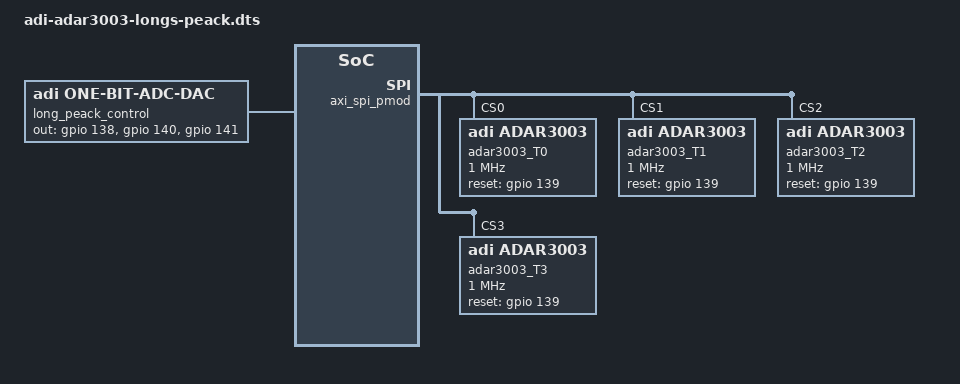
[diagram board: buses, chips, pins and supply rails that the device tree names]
// SPDX-License-Identifier: GPL-2.0
/*
 * dts file for AD9172-FMC-EBZ on Xilinx ZynqMP ZCU102 Rev 1.0
 *
 * Copyright (C) 2018-2019 Analog Devices Inc.
 */

#include "zynqmp-zcu102-rev10-ad9081-m8-l4.dts"

/ {
	long_peack_control@0 {
		compatible = "adi,one-bit-adc-dac";
		#address-cells = <1>;
		#size-cells = <0>;
		// 78 offset
		out-gpios = <&gpio 138 0>, <&gpio 140 0>, <&gpio 141 0>;
		label = "long_peack_control";

		channel@0 {
			reg = <0>;
			label = "MUTE";
		};
		channel@1 {
			reg = <1>;
			label = "UPDATE";
		};
		channel@2 {
			reg = <2>;
			label = "RESET";
		};
	};
};

&fpga_axi {
	axi_spi_pmod: spi@84000000 {
		#address-cells = <1>;
		#size-cells = <0>;
		bits-per-word = <8>;
		compatible = "xlnx,xps-spi-2.00.a";
		fifo-size = <16>;
		// 3 + 121 - 32
		interrupts = <0 92 IRQ_TYPE_LEVEL_HIGH>;
		num-cs = <0x8>;
		reg = <0x84000000 0x10000>;
		xlnx,num-ss-bits = <0x8>;
		xlnx,spi-mode = <0>;
	};
};

&axi_spi_pmod {
	adar3003_T0: adar3003_0@0 {
		compatible = "adi,adar3003";
		reg = <0>;
		spi-max-frequency = <1000000>;
		label = "adar3003_T0";
		#address-cells = <1>;
		#size-cells = <0>;
		reset-gpios = <&gpio 139 0>;

		adar3003_0@0 {
			reg = <0>;
			label = "adar3003_U1E";
		};
		adar3003_1@1 {
			reg = <1>;
			label = "adar3003_U2E";
		};
		adar3003_2@2 {
			reg = <2>;
			label = "adar3003_U3E";
		};
		adar3003_3@3 {
			reg = <3>;
			label = "adar3003_U4E";
		};

		adar3003_4@4 {
			reg = <4>;
			label = "adar3003_U1F";
		};
		adar3003_5@5 {
			reg = <5>;
			label = "adar3003_U2F";
		};
		adar3003_6@6 {
			reg = <6>;
			label = "adar3003_U3F";
		};
		adar3003_7@7 {
			reg = <7>;
			label = "adar3003_U4F";
		};

		adar3003_8@8 {
			reg = <8>;
			label = "adar3003_U1G";
		};
		adar3003_9@9 {
			reg = <9>;
			label = "adar3003_U2G";
		};
		adar3003_10@10 {
			reg = <10>;
			label = "adar3003_U3G";
		};
		adar3003_11@11 {
			reg = <11>;
			label = "adar3003_U4G";
		};

		adar3003_12@12 {
			reg = <12>;
			label = "adar3003_U1H";
		};
		adar3003_13@13 {
			reg = <13>;
			label = "adar3003_U2H";
		};
		adar3003_14@14 {
			reg = <14>;
			label = "adar3003_U3H";
		};
		adar3003_15@15 {
			reg = <15>;
			label = "adar3003_U4H";
		};
	};

	adar3003_T1: adar3003_1@1 {
		compatible = "adi,adar3003";
		reg = <1>;
		spi-max-frequency = <1000000>;
		label = "adar3003_T1";
		#address-cells = <1>;
		#size-cells = <0>;
		reset-gpios = <&gpio 139 0>;

		adar3003_0@0 {
			reg = <0>;
			label = "adar3003_U1E";
		};
		adar3003_1@1 {
			reg = <1>;
			label = "adar3003_U2E";
		};
		adar3003_2@2 {
			reg = <2>;
			label = "adar3003_U3E";
		};
		adar3003_3@3 {
			reg = <3>;
			label = "adar3003_U4E";
		};

		adar3003_4@4 {
			reg = <4>;
			label = "adar3003_U1F";
		};
		adar3003_5@5 {
			reg = <5>;
			label = "adar3003_U2F";
		};
		adar3003_6@6 {
			reg = <6>;
			label = "adar3003_U3F";
		};
		adar3003_7@7 {
			reg = <7>;
			label = "adar3003_U4F";
		};

		adar3003_8@8 {
			reg = <8>;
			label = "adar3003_U1G";
		};
		adar3003_9@9 {
			reg = <9>;
			label = "adar3003_U2G";
		};
		adar3003_10@10 {
			reg = <10>;
			label = "adar3003_U3G";
		};
		adar3003_11@11 {
			reg = <11>;
			label = "adar3003_U4G";
		};

		adar3003_12@12 {
			reg = <12>;
			label = "adar3003_U1H";
		};
		adar3003_13@13 {
			reg = <13>;
			label = "adar3003_U2H";
		};
		adar3003_14@14 {
			reg = <14>;
			label = "adar3003_U3H";
		};
		adar3003_15@15 {
			reg = <15>;
			label = "adar3003_U4H";
		};
	};

	adar3003_T2: adar3003_2@2 {
		compatible = "adi,adar3003";
		reg = <2>;
		spi-max-frequency = <1000000>;
		label = "adar3003_T2";
		#address-cells = <1>;
		#size-cells = <0>;
		reset-gpios = <&gpio 139 0>;

		adar3003_0@0 {
			reg = <0>;
			label = "adar3003_U1E";
		};
		adar3003_1@1 {
			reg = <1>;
			label = "adar3003_U2E";
		};
		adar3003_2@2 {
			reg = <2>;
			label = "adar3003_U3E";
		};
		adar3003_3@3 {
			reg = <3>;
			label = "adar3003_U4E";
		};

		adar3003_4@4 {
			reg = <4>;
			label = "adar3003_U1F";
		};
		adar3003_5@5 {
			reg = <5>;
			label = "adar3003_U2F";
		};
		adar3003_6@6 {
			reg = <6>;
			label = "adar3003_U3F";
		};
		adar3003_7@7 {
			reg = <7>;
			label = "adar3003_U4F";
		};

		adar3003_8@8 {
			reg = <8>;
			label = "adar3003_U1G";
		};
		adar3003_9@9 {
			reg = <9>;
			label = "adar3003_U2G";
		};
		adar3003_10@10 {
			reg = <10>;
			label = "adar3003_U3G";
		};
		adar3003_11@11 {
			reg = <11>;
			label = "adar3003_U4G";
		};

		adar3003_12@12 {
			reg = <12>;
			label = "adar3003_U1H";
		};
		adar3003_13@13 {
			reg = <13>;
			label = "adar3003_U2H";
		};
		adar3003_14@14 {
			reg = <14>;
			label = "adar3003_U3H";
		};
		adar3003_15@15 {
			reg = <15>;
			label = "adar3003_U4H";
		};
	};

	adar3003_T3: adar3003_3@3 {
		compatible = "adi,adar3003";
		reg = <3>;
		spi-max-frequency = <1000000>;
		label = "adar3003_T3";
		#address-cells = <1>;
		#size-cells = <0>;
		reset-gpios = <&gpio 139 0>;

		adar3003_0@0 {
			reg = <0>;
			label = "adar3003_U1E";
		};
		adar3003_1@1 {
			reg = <1>;
			label = "adar3003_U2E";
		};
		adar3003_2@2 {
			reg = <2>;
			label = "adar3003_U3E";
		};
		adar3003_3@3 {
			reg = <3>;
			label = "adar3003_U4E";
		};

		adar3003_4@4 {
			reg = <4>;
			label = "adar3003_U1F";
		};
		adar3003_5@5 {
			reg = <5>;
			label = "adar3003_U2F";
		};
		adar3003_6@6 {
			reg = <6>;
			label = "adar3003_U3F";
		};
		adar3003_7@7 {
			reg = <7>;
			label = "adar3003_U4F";
		};

		adar3003_8@8 {
			reg = <8>;
			label = "adar3003_U1G";
		};
		adar3003_9@9 {
			reg = <9>;
			label = "adar3003_U2G";
		};
		adar3003_10@10 {
			reg = <10>;
			label = "adar3003_U3G";
		};
		adar3003_11@11 {
			reg = <11>;
			label = "adar3003_U4G";
		};

		adar3003_12@12 {
			reg = <12>;
			label = "adar3003_U1H";
		};
		adar3003_13@13 {
			reg = <13>;
			label = "adar3003_U2H";
		};
		adar3003_14@14 {
			reg = <14>;
			label = "adar3003_U3H";
		};
		adar3003_15@15 {
			reg = <15>;
			label = "adar3003_U4H";
		};
	};
};

